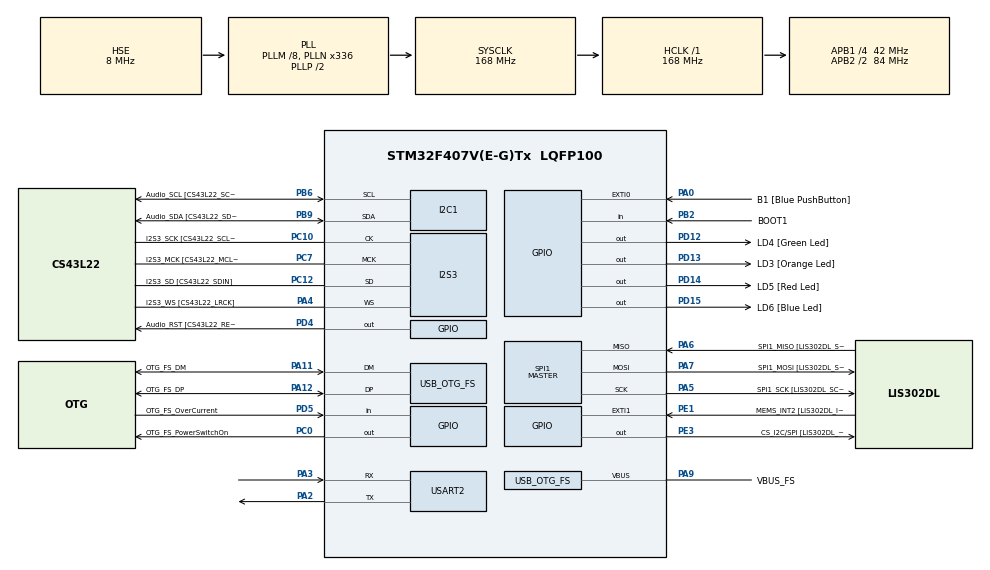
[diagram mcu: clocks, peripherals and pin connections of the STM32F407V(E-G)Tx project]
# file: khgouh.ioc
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I2S3.AudioFreq-Half_Duplex_Master=I2S_AUDIOFREQ_96K
I2S3.ErrorAudioFreq=-2.34 %
I2S3.ErrorAudioFreq-Half_Duplex_Master=0.8 %
I2S3.FullDuplexMode=I2S_FULLDUPLEXMODE_DISABLE
I2S3.Instance=SPI$Index
I2S3.RealAudioFreq=93.75 KHz
I2S3.RealAudioFreq-Half_Duplex_Master=96.774 KHz
I2S3.VirtualMode=I2S_MODE_MASTER
Mcu.Family=STM32F4
Mcu.Name=STM32F407V(E-G)Tx
Mcu.Package=LQFP100
NVIC.OTG_FS_IRQn=true\:0\:0\:false\:false\:true\:true\:true\:true
NVIC.PriorityGroup=NVIC_PRIORITYGROUP_0
PA0-WKUP.GPIO_Label=B1 [Blue PushButton]
PA0-WKUP.GPIO_ModeDefaultEXTI=GPIO_MODE_EVT_RISING
PA0-WKUP.GPIO_PuPd=GPIO_NOPULL
PA0-WKUP.Signal=GPXTI0
PA10.GPIO_Label=OTG_FS_ID
PA10.GPIO_Mode=GPIO_MODE_AF_PP
PA10.GPIO_PuPd=GPIO_NOPULL
PA10.GPIO_Speed=GPIO_SPEED_FREQ_LOW
PA10.Signal=USB_OTG_FS_ID
PA11.GPIO_Label=OTG_FS_DM
PA11.GPIO_Mode=GPIO_MODE_AF_PP
PA11.GPIO_PuPd=GPIO_NOPULL
PA11.GPIO_Speed=GPIO_SPEED_FREQ_LOW
PA11.Mode=Host_Only
PA11.Signal=USB_OTG_FS_DM
PA12.GPIO_Label=OTG_FS_DP
PA12.GPIO_Mode=GPIO_MODE_AF_PP
PA12.GPIO_PuPd=GPIO_NOPULL
PA12.GPIO_Speed=GPIO_SPEED_FREQ_LOW
PA12.Mode=Host_Only
PA12.Signal=USB_OTG_FS_DP
PA13.GPIO_Label=SWDIO
PA13.Mode=Serial_Wire
PA13.Signal=SYS_JTMS-SWDIO
PA14.GPIO_Label=SWCLK
PA14.Mode=Serial_Wire
PA14.Signal=SYS_JTCK-SWCLK
PA2.Mode=Asynchronous
PA2.Signal=USART2_TX
PA3.Mode=Asynchronous
PA3.Signal=USART2_RX
PA4.GPIO_Label=I2S3_WS [CS43L22_LRCK]
PA4.GPIO_Mode=GPIO_MODE_AF_PP
PA4.GPIO_PuPd=GPIO_NOPULL
PA4.GPIO_Speed=GPIO_SPEED_FREQ_LOW
PA4.Mode=Half_Duplex_Master
PA4.Signal=I2S3_WS
PA5.GPIO_Label=SPI1_SCK [LIS302DL_SCL/SPC]
PA5.GPIO_Mode=GPIO_MODE_AF_PP
PA5.GPIO_PuPd=GPIO_NOPULL
PA5.GPIO_Speed=GPIO_SPEED_FREQ_LOW
PA5.Mode=Full_Duplex_Master
PA5.Signal=SPI1_SCK
PA6.GPIO_Label=SPI1_MISO [LIS302DL_SDO]
PA6.GPIO_Mode=GPIO_MODE_AF_PP
PA6.GPIO_PuPd=GPIO_NOPULL
PA6.GPIO_Speed=GPIO_SPEED_FREQ_LOW
PA6.Mode=Full_Duplex_Master
PA6.Signal=SPI1_MISO
PA7.GPIO_Label=SPI1_MOSI [LIS302DL_SDA/SDI/SDO]
PA7.GPIO_Mode=GPIO_MODE_AF_PP
PA7.GPIO_PuPd=GPIO_NOPULL
PA7.GPIO_Speed=GPIO_SPEED_FREQ_LOW
PA7.Mode=Full_Duplex_Master
PA7.Signal=SPI1_MOSI
PA9.GPIO_Label=VBUS_FS
PA9.GPIO_Mode=GPIO_MODE_INPUT
PA9.GPIO_PuPd=GPIO_NOPULL
PA9.Mode=Activate_VBUS
PA9.Signal=USB_OTG_FS_VBUS
PB10.GPIO_Label=CLK_IN [MP45DT02_CLK]
PB10.GPIO_Mode=GPIO_MODE_AF_PP
PB10.GPIO_PuPd=GPIO_NOPULL
PB10.GPIO_Speed=GPIO_SPEED_FREQ_LOW
PB10.Signal=I2S2_CK
PB2.GPIO_Label=BOOT1
PB2.GPIO_Mode=GPIO_MODE_INPUT
PB2.GPIO_PuPd=GPIO_NOPULL
PB2.Signal=GPIO_Input
PB3.GPIO_Label=SWO
PB3.Signal=SYS_JTDO-SWO
PB6.GPIO_Label=Audio_SCL [CS43L22_SCL]
PB6.GPIO_Mode=GPIO_MODE_AF_OD
PB6.GPIO_Pu=GPIO_PULLUP
PB6.GPIO_PuPd=GPIO_NOPULL
PB6.GPIO_Speed=GPIO_SPEED_FREQ_LOW
PB6.Mode=I2C
PB6.Signal=I2C1_SCL
PB9.GPIO_Label=Audio_SDA [CS43L22_SDA]
PB9.GPIO_Mode=GPIO_MODE_AF_OD
PB9.GPIO_Pu=GPIO_PULLUP
PB9.GPIO_PuPd=GPIO_NOPULL
PB9.GPIO_Speed=GPIO_SPEED_FREQ_LOW
PB9.Mode=I2C
PB9.Signal=I2C1_SDA
PC0.GPIO_Label=OTG_FS_PowerSwitchOn
PC0.GPIO_PuPd=GPIO_NOPULL
PC0.GPIO_Speed=GPIO_SPEED_FREQ_LOW
PC0.PinState=GPIO_PIN_SET
PC0.Signal=GPIO_Output
PC10.GPIO_Label=I2S3_SCK [CS43L22_SCLK]
PC10.GPIO_Mode=GPIO_MODE_AF_PP
PC10.GPIO_PuPd=GPIO_NOPULL
PC10.GPIO_Speed=GPIO_SPEED_FREQ_LOW
PC10.Mode=Half_Duplex_Master
PC10.Signal=I2S3_CK
PC12.GPIO_Label=I2S3_SD [CS43L22_SDIN]
PC12.GPIO_Mode=GPIO_MODE_AF_PP
PC12.GPIO_PuPd=GPIO_NOPULL
PC12.GPIO_Speed=GPIO_SPEED_FREQ_LOW
PC12.Mode=Half_Duplex_Master
PC12.Signal=I2S3_SD
PC14-OSC32_IN.GPIO_Label=PC14-OSC32_IN
PC14-OSC32_IN.Mode=LSE-External-Oscillator
PC14-OSC32_IN.Signal=RCC_OSC32_IN
PC15-OSC32_OUT.GPIO_Label=PC15-OSC32_OUT
PC15-OSC32_OUT.Mode=LSE-External-Oscillator
PC15-OSC32_OUT.Signal=RCC_OSC32_OUT
PC3.GPIO_Label=PDM_OUT [MP45DT02_DOUT]
PC3.GPIO_Mode=GPIO_MODE_AF_PP
PC3.GPIO_PuPd=GPIO_NOPULL
PC3.GPIO_Speed=GPIO_SPEED_FREQ_LOW
PC3.Signal=I2S2_SD
PC7.GPIO_Label=I2S3_MCK [CS43L22_MCLK]
PC7.GPIO_Mode=GPIO_MODE_AF_PP
PC7.GPIO_PuPd=GPIO_NOPULL
PC7.GPIO_Speed=GPIO_SPEED_FREQ_LOW
PC7.Mode=Master_Clock_Activated
PC7.Signal=I2S3_MCK
PD12.GPIO_Label=LD4 [Green Led]
PD12.GPIO_PuPd=GPIO_NOPULL
PD12.GPIO_Speed=GPIO_SPEED_FREQ_LOW
PD12.Signal=GPIO_Output
PD13.GPIO_Label=LD3 [Orange Led]
PD13.GPIO_PuPd=GPIO_NOPULL
PD13.GPIO_Speed=GPIO_SPEED_FREQ_LOW
PD13.Signal=GPIO_Output
PD14.GPIO_Label=LD5 [Red Led]
PD14.GPIO_PuPd=GPIO_NOPULL
PD14.GPIO_Speed=GPIO_SPEED_FREQ_LOW
PD14.Signal=GPIO_Output
PD15.GPIO_Label=LD6 [Blue Led]
PD15.GPIO_PuPd=GPIO_NOPULL
PD15.GPIO_Speed=GPIO_SPEED_FREQ_LOW
PD15.Signal=GPIO_Output
PD4.GPIO_Label=Audio_RST [CS43L22_RESET]
PD4.GPIO_PuPd=GPIO_NOPULL
PD4.GPIO_Speed=GPIO_SPEED_FREQ_LOW
PD4.Signal=GPIO_Output
PD5.GPIO_Label=OTG_FS_OverCurrent
PD5.GPIO_Mode=GPIO_MODE_INPUT
PD5.GPIO_PuPd=GPIO_NOPULL
PD5.Signal=GPIO_Input
PE1.GPIO_Label=MEMS_INT2 [LIS302DL_INT2]
PE1.GPIO_ModeDefaultEXTI=GPIO_MODE_EVT_RISING
PE1.GPIO_PuPd=GPIO_NOPULL
PE1.Signal=GPXTI1
PE3.GPIO_Label=CS_I2C/SPI [LIS302DL_CS_I2C/SPI]
PE3.GPIO_PuPd=GPIO_NOPULL
PE3.GPIO_Speed=GPIO_SPEED_FREQ_LOW
PE3.Signal=GPIO_Output
PH0-OSC_IN.GPIO_Label=PH0-OSC_IN
PH0-OSC_IN.Mode=HSE-External-Oscillator
PH0-OSC_IN.Signal=RCC_OSC_IN
PH1-OSC_OUT.GPIO_Label=PH1-OSC_OUT
PH1-OSC_OUT.Mode=HSE-External-Oscillator
PH1-OSC_OUT.Signal=RCC_OSC_OUT
ProjectManager.HeapSize=0x200
ProjectManager.StackSize=0x400
ProjectManager.TargetToolchain=STM32CubeIDE
RCC.48MHZClocksFreq_Value=48000000
RCC.AHBFreq_Value=168000000
RCC.APB1CLKDivider=RCC_HCLK_DIV4
RCC.APB1Freq_Value=42000000
RCC.APB1TimFreq_Value=84000000
RCC.APB2CLKDivider=RCC_HCLK_DIV2
RCC.APB2Freq_Value=84000000
RCC.APB2TimFreq_Value=168000000
RCC.CortexFreq_Value=168000000
RCC.HCLKFreq_Value=168000000
RCC.HSE_VALUE=8000000
RCC.HSI_VALUE=16000000
RCC.PLLM=8
RCC.PLLN=336
RCC.PLLQ=7
RCC.SYSCLKFreq_VALUE=168000000
RCC.SYSCLKSource=RCC_SYSCLKSOURCE_PLLCLK
RCC.VCOOutputFreq_Value=336000000
SPI1.BaudRatePrescaler-Full_Duplex_Master=SPI_BAUDRATEPRESCALER_2
SPI1.CalculateBaudRate-Full_Duplex_Master=42.0 MBits/s
SPI1.Direction=SPI_DIRECTION_2LINES
SPI1.Mode=SPI_MODE_MASTER
SPI1.Mode-Full_Duplex_Master=SPI_MODE_MASTER
SPI1.VirtualType=VM_MASTER
USART2.VirtualMode=VM_ASYNC
USB_HOST.BSP.number=1
USB_HOST.USBH_HandleTypeDef-CDC_FS=hUsbHostFS
USB_HOST.VirtualModeFS=Cdc
USB_HOST0.BSP.STBoard=false
USB_HOST0.BSP.api=Unknown
USB_HOST0.BSP.instance=PC0
USB_HOST0.BSP.ip=GPIO
USB_HOST0.BSP.mode=Output
USB_HOST0.BSP.name=Drive_VBUS_FS
USB_HOST0.BSP.solution=PC0
USB_OTG_FS.VirtualMode=Host_Only
USB_OTG_FS.phy_itface=HCD_PHY_EMBEDDED
VP_USB_HOST_VS_USB_HOST_CDC_FS.Mode=CDC_FS
board=STM32F407G-DISC1

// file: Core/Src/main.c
/* USER CODE BEGIN Header */
/**
  ******************************************************************************
  * @file           : main.c
  * @brief          : Main program body
  ******************************************************************************
  * @attention
  *
  * Copyright (c) 2025 STMicroelectronics.
  * All rights reserved.
  *
  * This software is licensed under terms that can be found in the LICENSE file
  * in the root directory of this software component.
  * If no LICENSE file comes with this software, it is provided AS-IS.
  *
  ******************************************************************************
  */
/* USER CODE END Header */
#include "main.h"
#include "usb_host.h"
#include "string.h"

I2C_HandleTypeDef hi2c1;

I2S_HandleTypeDef hi2s3;

SPI_HandleTypeDef hspi1;

UART_HandleTypeDef huart2;

void SystemClock_Config(void);
static void MX_GPIO_Init(void);
static void MX_I2C1_Init(void);
static void MX_I2S3_Init(void);
static void MX_SPI1_Init(void);
static void MX_USART2_UART_Init(void);
void MX_USB_HOST_Process(void);

int main(void)
{

  /* MCU Configuration--------------------------------------------------------*/

  /* Reset of all peripherals, Initializes the Flash interface and the Systick. */
  HAL_Init();

  /* Configure the system clock */
  SystemClock_Config();

  /* Initialize all configured peripherals */
  MX_GPIO_Init();
  MX_I2C1_Init();
  MX_I2S3_Init();
  MX_SPI1_Init();
  MX_USB_HOST_Init();
  MX_USART2_UART_Init();

  /* Infinite loop */
  while (1)
  {
    MX_USB_HOST_Process();

    /* USER CODE BEGIN 3 */

    uint8_t rcvBuf[1];
    HAL_StatusTypeDef result;
    GPIO_PinState state;

    result = HAL_UART_Receive(&huart2, rcvBuf, 1, 10);

    if (result == HAL_OK) {
    	switch (rcvBuf[0]) {
    	case '1':
    		HAL_GPIO_TogglePin(GPIOD, GPIO_PIN_15);
    		state = HAL_GPIO_ReadPin(GPIOD, GPIO_PIN_15);
    		if (state)
    		{
    			HAL_UART_Transmit(&huart2, (uint8_t *)" - Blue ON\r\n ", 12, 100);
    		} else
    		{
    			HAL_UART_Transmit(&huart2, (uint8_t *)" - Blue OFF\r\n ", 13, 100);
    		}
    		break;
    	case '2':
    		HAL_GPIO_TogglePin(GPIOD, GPIO_PIN_14);
    		state = HAL_GPIO_ReadPin(GPIOD, GPIO_PIN_14);
    		if (state)
    		{
    			HAL_UART_Transmit(&huart2, (uint8_t *)" - Red ON\r\n ", 11, 100);
    		} else
    		{
    			HAL_UART_Transmit(&huart2, (uint8_t *)" - Red OFF\r\n ", 12, 100);
    		}
    		break;
    	case '3':
    	    HAL_GPIO_TogglePin(GPIOD, GPIO_PIN_13);
    	    state = HAL_GPIO_ReadPin(GPIOD, GPIO_PIN_13);
    	    if (state)
    	    {
    	    	HAL_UART_Transmit(&huart2, (uint8_t *)" - Yellow ON\r\n ", 14, 100);
    	   	} else
     		{
    	   		HAL_UART_Transmit(&huart2, (uint8_t *)" - Yellow OFF\r\n ", 15, 100);
    	    }
    	    break;
    	case '4':
    	    HAL_GPIO_TogglePin(GPIOD, GPIO_PIN_12);
    	    state = HAL_GPIO_ReadPin(GPIOD, GPIO_PIN_12);
    	    if (state)
    	    {
    	    	HAL_UART_Transmit(&huart2, (uint8_t *)" - Green ON\r\n ", 13, 100);
    	    } else
    	    {
    	   		HAL_UART_Transmit(&huart2, (uint8_t *)" - Green OFF\r\n ", 14, 100);
     	    }
    	    break;
    	case '5':
    	    HAL_GPIO_WritePin(GPIOD, GPIO_PIN_15, GPIO_PIN_SET);
    	    HAL_GPIO_WritePin(GPIOD, GPIO_PIN_14, GPIO_PIN_SET);
    	    HAL_GPIO_WritePin(GPIOD, GPIO_PIN_13, GPIO_PIN_SET);
    	    HAL_GPIO_WritePin(GPIOD, GPIO_PIN_12, GPIO_PIN_SET);

	   		HAL_UART_Transmit(&huart2, (uint8_t *)" - All ON\r\n ", 11, 100);
    	    break;
    	case '6':
    	    HAL_GPIO_WritePin(GPIOD, GPIO_PIN_15, GPIO_PIN_RESET);
    	    HAL_GPIO_WritePin(GPIOD, GPIO_PIN_14, GPIO_PIN_RESET);
    	    HAL_GPIO_WritePin(GPIOD, GPIO_PIN_13, GPIO_PIN_RESET);
    	    HAL_GPIO_WritePin(GPIOD, GPIO_PIN_12, GPIO_PIN_RESET);

    		HAL_UART_Transmit(&huart2, (uint8_t *)" - All OFF\r\n ", 12, 100);
    	    break;
    	default:
    		HAL_UART_Transmit(&huart2, (uint8_t *)" - UnexpCmd\r\n ", 13, 100);
    		break;
    	}
    }
  }
  /* USER CODE END 3 */
}

void SystemClock_Config(void)
{
  RCC_OscInitTypeDef RCC_OscInitStruct = {0};
  RCC_ClkInitTypeDef RCC_ClkInitStruct = {0};

  /** Configure the main internal regulator output voltage
  */
  __HAL_RCC_PWR_CLK_ENABLE();
  __HAL_PWR_VOLTAGESCALING_CONFIG(PWR_REGULATOR_VOLTAGE_SCALE1);

  /** Initializes the RCC Oscillators according to the specified parameters
  * in the RCC_OscInitTypeDef structure.
  */
  RCC_OscInitStruct.OscillatorType = RCC_OSCILLATORTYPE_HSE;
  RCC_OscInitStruct.HSEState = RCC_HSE_ON;
  RCC_OscInitStruct.PLL.PLLState = RCC_PLL_ON;
  RCC_OscInitStruct.PLL.PLLSource = RCC_PLLSOURCE_HSE;
  RCC_OscInitStruct.PLL.PLLM = 8;
  RCC_OscInitStruct.PLL.PLLN = 336;
  RCC_OscInitStruct.PLL.PLLP = RCC_PLLP_DIV2;
  RCC_OscInitStruct.PLL.PLLQ = 7;
  if (HAL_RCC_OscConfig(&RCC_OscInitStruct) != HAL_OK)
  {
    Error_Handler();
  }

  /** Initializes the CPU, AHB and APB buses clocks
  */
  RCC_ClkInitStruct.ClockType = RCC_CLOCKTYPE_HCLK|RCC_CLOCKTYPE_SYSCLK
                              |RCC_CLOCKTYPE_PCLK1|RCC_CLOCKTYPE_PCLK2;
  RCC_ClkInitStruct.SYSCLKSource = RCC_SYSCLKSOURCE_PLLCLK;
  RCC_ClkInitStruct.AHBCLKDivider = RCC_SYSCLK_DIV1;
  RCC_ClkInitStruct.APB1CLKDivider = RCC_HCLK_DIV4;
  RCC_ClkInitStruct.APB2CLKDivider = RCC_HCLK_DIV2;

  if (HAL_RCC_ClockConfig(&RCC_ClkInitStruct, FLASH_LATENCY_5) != HAL_OK)
  {
    Error_Handler();
  }
}

static void MX_I2C1_Init(void)
{

  hi2c1.Instance = I2C1;
  hi2c1.Init.ClockSpeed = 100000;
  hi2c1.Init.DutyCycle = I2C_DUTYCYCLE_2;
  hi2c1.Init.OwnAddress1 = 0;
  hi2c1.Init.AddressingMode = I2C_ADDRESSINGMODE_7BIT;
  hi2c1.Init.DualAddressMode = I2C_DUALADDRESS_DISABLE;
  hi2c1.Init.OwnAddress2 = 0;
  hi2c1.Init.GeneralCallMode = I2C_GENERALCALL_DISABLE;
  hi2c1.Init.NoStretchMode = I2C_NOSTRETCH_DISABLE;
  if (HAL_I2C_Init(&hi2c1) != HAL_OK)
  {
    Error_Handler();
  }

}

static void MX_I2S3_Init(void)
{

  hi2s3.Instance = SPI3;
  hi2s3.Init.Mode = I2S_MODE_MASTER_TX;
  hi2s3.Init.Standard = I2S_STANDARD_PHILIPS;
  hi2s3.Init.DataFormat = I2S_DATAFORMAT_16B;
  hi2s3.Init.MCLKOutput = I2S_MCLKOUTPUT_ENABLE;
  hi2s3.Init.AudioFreq = I2S_AUDIOFREQ_96K;
  hi2s3.Init.CPOL = I2S_CPOL_LOW;
  hi2s3.Init.ClockSource = I2S_CLOCK_PLL;
  hi2s3.Init.FullDuplexMode = I2S_FULLDUPLEXMODE_DISABLE;
  if (HAL_I2S_Init(&hi2s3) != HAL_OK)
  {
    Error_Handler();
  }

}

static void MX_SPI1_Init(void)
{

  /* SPI1 parameter configuration*/
  hspi1.Instance = SPI1;
  hspi1.Init.Mode = SPI_MODE_MASTER;
  hspi1.Init.Direction = SPI_DIRECTION_2LINES;
  hspi1.Init.DataSize = SPI_DATASIZE_8BIT;
  hspi1.Init.CLKPolarity = SPI_POLARITY_LOW;
  hspi1.Init.CLKPhase = SPI_PHASE_1EDGE;
  hspi1.Init.NSS = SPI_NSS_SOFT;
  hspi1.Init.BaudRatePrescaler = SPI_BAUDRATEPRESCALER_2;
  hspi1.Init.FirstBit = SPI_FIRSTBIT_MSB;
  hspi1.Init.TIMode = SPI_TIMODE_DISABLE;
  hspi1.Init.CRCCalculation = SPI_CRCCALCULATION_DISABLE;
  hspi1.Init.CRCPolynomial = 10;
  if (HAL_SPI_Init(&hspi1) != HAL_OK)
  {
    Error_Handler();
  }

}

static void MX_USART2_UART_Init(void)
{

  huart2.Instance = USART2;
  huart2.Init.BaudRate = 115200;
  huart2.Init.WordLength = UART_WORDLENGTH_8B;
  huart2.Init.StopBits = UART_STOPBITS_1;
  huart2.Init.Parity = UART_PARITY_NONE;
  huart2.Init.Mode = UART_MODE_TX_RX;
  huart2.Init.HwFlowCtl = UART_HWCONTROL_NONE;
  huart2.Init.OverSampling = UART_OVERSAMPLING_16;
  if (HAL_UART_Init(&huart2) != HAL_OK)
  {
    Error_Handler();
  }

}

static void MX_GPIO_Init(void)
{
  GPIO_InitTypeDef GPIO_InitStruct = {0};

  /* GPIO Ports Clock Enable */
  __HAL_RCC_GPIOE_CLK_ENABLE();
  __HAL_RCC_GPIOC_CLK_ENABLE();
  __HAL_RCC_GPIOH_CLK_ENABLE();
  __HAL_RCC_GPIOA_CLK_ENABLE();
  __HAL_RCC_GPIOB_CLK_ENABLE();
  __HAL_RCC_GPIOD_CLK_ENABLE();

  /*Configure GPIO pin Output Level */
  HAL_GPIO_WritePin(CS_I2C_SPI_GPIO_Port, CS_I2C_SPI_Pin, GPIO_PIN_RESET);

  /*Configure GPIO pin Output Level */
  HAL_GPIO_WritePin(OTG_FS_PowerSwitchOn_GPIO_Port, OTG_FS_PowerSwitchOn_Pin, GPIO_PIN_SET);

  /*Configure GPIO pin Output Level */
  HAL_GPIO_WritePin(GPIOD, LD4_Pin|LD3_Pin|LD5_Pin|LD6_Pin
                          |Audio_RST_Pin, GPIO_PIN_RESET);

  /*Configure GPIO pin : CS_I2C_SPI_Pin */
  GPIO_InitStruct.Pin = CS_I2C_SPI_Pin;
  GPIO_InitStruct.Mode = GPIO_MODE_OUTPUT_PP;
  GPIO_InitStruct.Pull = GPIO_NOPULL;
  GPIO_InitStruct.Speed = GPIO_SPEED_FREQ_LOW;
  HAL_GPIO_Init(CS_I2C_SPI_GPIO_Port, &GPIO_InitStruct);

  /*Configure GPIO pin : OTG_FS_PowerSwitchOn_Pin */
  GPIO_InitStruct.Pin = OTG_FS_PowerSwitchOn_Pin;
  GPIO_InitStruct.Mode = GPIO_MODE_OUTPUT_PP;
  GPIO_InitStruct.Pull = GPIO_NOPULL;
  GPIO_InitStruct.Speed = GPIO_SPEED_FREQ_LOW;
  HAL_GPIO_Init(OTG_FS_PowerSwitchOn_GPIO_Port, &GPIO_InitStruct);

  /*Configure GPIO pin : PDM_OUT_Pin */
  GPIO_InitStruct.Pin = PDM_OUT_Pin;
  GPIO_InitStruct.Mode = GPIO_MODE_AF_PP;
  GPIO_InitStruct.Pull = GPIO_NOPULL;
  GPIO_InitStruct.Speed = GPIO_SPEED_FREQ_LOW;
  GPIO_InitStruct.Alternate = GPIO_AF5_SPI2;
  HAL_GPIO_Init(PDM_OUT_GPIO_Port, &GPIO_InitStruct);

  /*Configure GPIO pin : B1_Pin */
  GPIO_InitStruct.Pin = B1_Pin;
  GPIO_InitStruct.Mode = GPIO_MODE_EVT_RISING;
  GPIO_InitStruct.Pull = GPIO_NOPULL;
  HAL_GPIO_Init(B1_GPIO_Port, &GPIO_InitStruct);

  /*Configure GPIO pin : BOOT1_Pin */
  GPIO_InitStruct.Pin = BOOT1_Pin;
  GPIO_InitStruct.Mode = GPIO_MODE_INPUT;
  GPIO_InitStruct.Pull = GPIO_NOPULL;
  HAL_GPIO_Init(BOOT1_GPIO_Port, &GPIO_InitStruct);

  /*Configure GPIO pin : CLK_IN_Pin */
  GPIO_InitStruct.Pin = CLK_IN_Pin;
  GPIO_InitStruct.Mode = GPIO_MODE_AF_PP;
  GPIO_InitStruct.Pull = GPIO_NOPULL;
  GPIO_InitStruct.Speed = GPIO_SPEED_FREQ_LOW;
  GPIO_InitStruct.Alternate = GPIO_AF5_SPI2;
  HAL_GPIO_Init(CLK_IN_GPIO_Port, &GPIO_InitStruct);

  /*Configure GPIO pins : LD4_Pin LD3_Pin LD5_Pin LD6_Pin
                           Audio_RST_Pin */
  GPIO_InitStruct.Pin = LD4_Pin|LD3_Pin|LD5_Pin|LD6_Pin
                          |Audio_RST_Pin;
  GPIO_InitStruct.Mode = GPIO_MODE_OUTPUT_PP;
  GPIO_InitStruct.Pull = GPIO_NOPULL;
  GPIO_InitStruct.Speed = GPIO_SPEED_FREQ_LOW;
  HAL_GPIO_Init(GPIOD, &GPIO_InitStruct);

  /*Configure GPIO pin : OTG_FS_OverCurrent_Pin */
  GPIO_InitStruct.Pin = OTG_FS_OverCurrent_Pin;
  GPIO_InitStruct.Mode = GPIO_MODE_INPUT;
  GPIO_InitStruct.Pull = GPIO_NOPULL;
  HAL_GPIO_Init(OTG_FS_OverCurrent_GPIO_Port, &GPIO_InitStruct);

  /*Configure GPIO pin : MEMS_INT2_Pin */
  GPIO_InitStruct.Pin = MEMS_INT2_Pin;
  GPIO_InitStruct.Mode = GPIO_MODE_EVT_RISING;
  GPIO_InitStruct.Pull = GPIO_NOPULL;
  HAL_GPIO_Init(MEMS_INT2_GPIO_Port, &GPIO_InitStruct);

}

void Error_Handler(void)
{
  __disable_irq();
  while (1)
  {
  }
}
